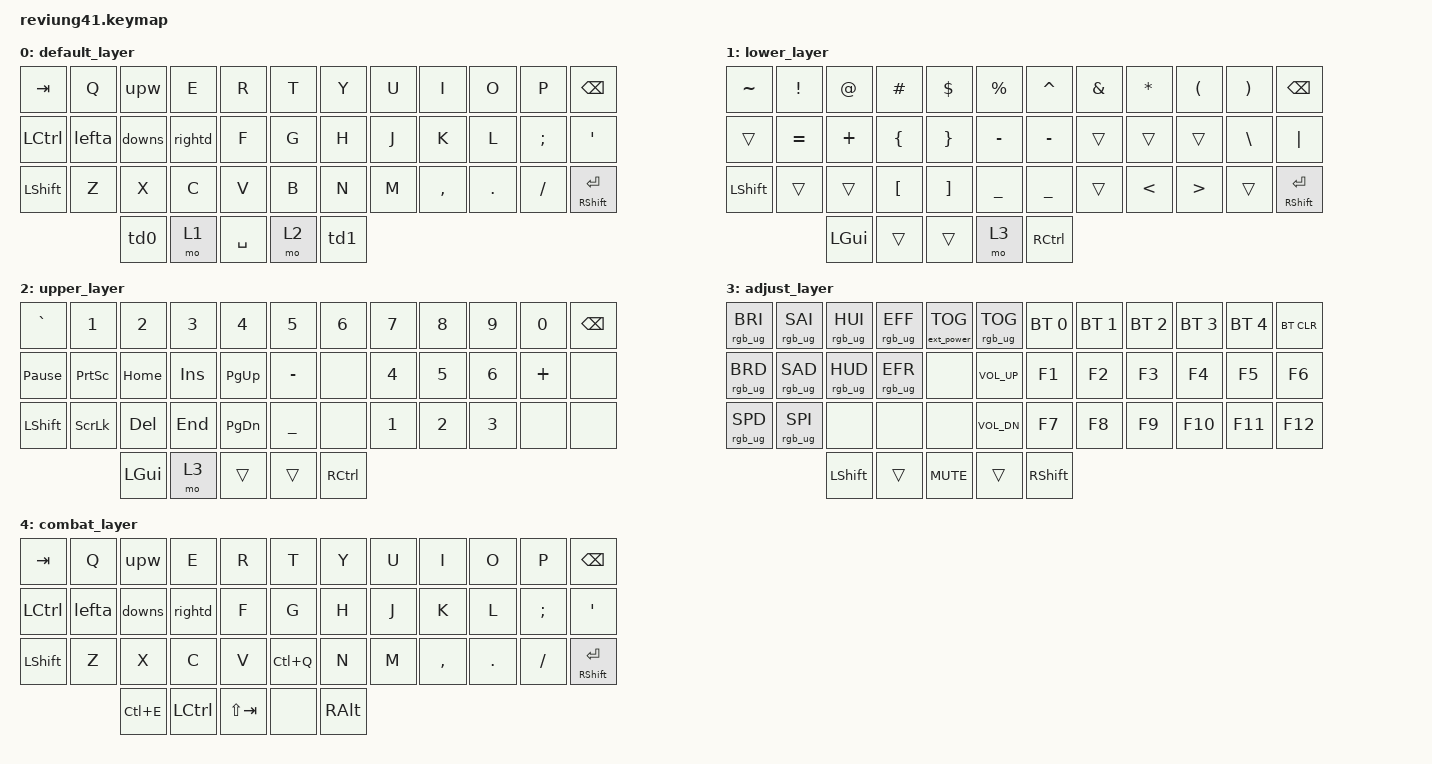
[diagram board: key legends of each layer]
/*
 * Copyright (c) 2020 The ZMK Contributors
 *
 * SPDX-License-Identifier: MIT
 */

// ----------------------------------------------------------------------------------
// |  ~    |  !  |  @  |  #  |  $  |  %  | xxxxx |  ^  |  &  |  *  |  (  |  )  |    BKSP   |
// |       |  =  |  +  |  -  |  (  |  {  | xxxxx |  }  |  )  |     |     |     |    "|"    |
// | SHIFT |     |     |  _  |  [  |  <  | xxxxx |  >  |  ]  |     |     |  \  | SHFT(RET) |
//                          | GUI  |     |       | ADJ | CTRL |


#include <behaviors.dtsi>
#include <dt-bindings/zmk/keys.h>
#include <dt-bindings/zmk/bt.h>
#include <dt-bindings/zmk/rgb.h>
#include <dt-bindings/zmk/ext_power.h>


/ {
    combos {
        compatible = "zmk,combos";
        combo_esc {
            timeout-ms = <40>;
            key-positions = <0 1>;
            bindings = <&kp ESC>;
        };
        combo_del {
            timeout-ms = <40>;
            key-positions = <10 11>;
            bindings = <&kp DEL>;
        };
        combo_default {
            timeout-ms = <50>;
            key-positions = <33 34 35>;
            bindings = <&to 0>;
        };
        combo_combat {
            timeout-ms = <50>;
            key-positions = <30 31 32>;
            bindings = <&to 4>;
        };
        combo_partial {
            timeout-ms = <30>;
            key-positions = <36 37>;
            bindings = <&kp LG(LS(S))>;
        };
        combo_code {
            timeout-ms = <30>;
            key-positions = <39 40>;
            bindings = <&kp LGUI>;
        };
    };
};

/ {
    behaviors {
        upw: up_w {
            compatible = "zmk,behavior-mod-morph";
            label = "W_UP";
            #binding-cells = <0>;
            bindings = <&kp W>, <&kp UP>;
            mods = <(MOD_RALT)>;
        };
        lefta: left_a {
            compatible = "zmk,behavior-mod-morph";
            label = "A_LEFT";
            #binding-cells = <0>;
            bindings = <&kp A>, <&kp LEFT>;
            mods = <(MOD_RALT)>;
        };
        downs: down_s {
            compatible = "zmk,behavior-mod-morph";
            label = "S_DOWN";
            #binding-cells = <0>;
            bindings = <&kp S>, <&kp DOWN>;
            mods = <(MOD_RALT)>;
        };
        rightd: right_d {
            compatible = "zmk,behavior-mod-morph";
            label = "D_RIGHT";
            #binding-cells = <0>;
            bindings = <&kp D>, <&kp RIGHT>;
            mods = <(MOD_RALT)>;
        };
        td0: tap_dance_0 {
            compatible = "zmk,behavior-tap-dance";
            label = "TAP_DANCE_0";
            #binding-cells = <0>;
            tapping-term-ms = <400>;
            bindings = <&kp LALT>, <&kp LG(LC(LEFT))>, <&kp LGUI>;
        };
        td1: tap_dance_1 {
            compatible = "zmk,behavior-tap-dance";
            label = "TAP_DANCE_1";
            #binding-cells = <0>;
            tapping-term-ms = <400>;
            bindings = <&kp RGUI>, <&kp LG(LC(RIGHT))>;
        };
    };
};


/ {
        keymap {
                compatible = "zmk,keymap";

                default_layer { 
// -------------------------------------------------------------------------------------
// |  TAB |  Q  |  W  |  E  |  R  |  T  | xxxxx |  Y  |  U   |  I  |  O  |  P  |   BKSP    |
// | CTRL |  A  |  S  |  D  |  F  |  G  | xxxxx |  H  |  J   |  K  |  L  |  ;  |     '     |
// | SHFT |  Z  |  X  |  C  |  V  |  B  | xxxxx |  N  |  M   |  ,  |  .  |  /  | SHFT(RET) |
//                           | TD0 | LWR | SPC | RSE  | TD1 |
                        bindings = <
   &kp TAB    &kp Q   &upw    &kp E    &kp R  &kp T      &kp Y  &kp U  &kp I      &kp O    &kp P     &kp BSPC
   &kp LCTRL  &lefta  &downs  &rightd  &kp F  &kp G      &kp H  &kp J  &kp K      &kp L    &kp SEMI  &kp SQT
   &kp LSHFT  &kp Z   &kp X   &kp C    &kp V  &kp B      &kp N  &kp M  &kp COMMA  &kp DOT  &kp FSLH  &mt RSHFT RET
                          &td0  &mo 1  &kp SPACE  &mo 2  &td1
                        >;
                };

                lower_layer {
// ----------------------------------------------------------------------------------
// |  ~    |  !  |  @  |  #  |  $  |  %  | xxxxx |  ^  |  &  |  *  |  (  |  )  |    BKSP   |
// |       |  =  |  +  |  {  |  }  |  -  | xxxxx |  -  |     |     |     |  \  |    "|"    |
// | SHIFT |     |     |  [  |  ]  |  _  | xxxxx |  _  |     |  <  |  >  |     | SHFT(RET) |
//                          | GUI  |     |     | ADJ | CTRL |
                        bindings = <
   &kp TILDE     &kp EXCL   &kp AT    &kp HASH    &kp DLLR  &kp PRCNT         &kp CARET  &kp AMPS  &kp STAR  &kp LPAR  &kp RPAR  &kp BSPC
   &trans         &kp EQUAL  &kp PLUS  &kp LBRC    &kp RBRC  &kp MINUS         &kp MINUS  &trans    &trans    &trans    &kp BSLH  &kp PIPE
   &kp LSHFT      &trans     &trans    &kp LBKT    &kp RBKT  &kp UNDER         &kp UNDER  &trans    &kp LT    &kp GT    &trans    &mt RSHFT RET
                                                   &kp LGUI  &trans  &trans  &mo 3  &kp RCTRL
                        >;
                };

                upper_layer {
// -----------------------------------------------------------------------------------------
// |  `    |  1   |  2   |  3  |  4     |  5   | xxxxx |  6  |  7  |  8  |  9  |  0  | BKSP   |
// | PAUSE |      | HOME | INS | PGUP   |  -   | xxxxx |  -  |  4  |  5  |  6  |  +  |        |
// | SHIFT | SLCK | DEL  | END | PGDOWN |  _   | xxxxx |  _  |  1  |  2  |  3  |     |        |
//                            | GUI |  ADJ  |     |     | CTRL |
                        bindings = <
   &kp GRAVE        &kp N1       &kp N2    &kp N3   &kp N4     &kp N5                &kp N6       &kp N7    &kp N8    &kp N9    &kp N0    &kp BSPC
   &kp PAUSE_BREAK  &kp PSCRN    &kp HOME  &kp INS  &kp PG_UP  &kp MINUS             &none        &kp N4    &kp N5    &kp N6    &kp PLUS  &none
   &kp LSHFT        &kp SLCK     &kp DEL   &kp END  &kp PG_DN  &kp UNDER             &none        &kp N1    &kp N2    &kp N3    &none     &none
                                      &kp LGUI      &mo 3       &trans        &trans      &kp RCTRL
                        >;
                };

                adjust_layer {
// -----------------------------------------------------------------------------------------
// | RGB BRI+ | RGB SAT+ | RGB HUE+ | RGB ANI+ | PWR TOG | RGB TOG  |  xxxxx  | BT1 | BT2 | BT3 | BT4 | BT5 | BT CLR |
// | RGB BRI- | RGB SAT- | RGB HUE- | RGB ANI- |         | VOL UP   |  xxxxx  | F1  | F2  | F3  | F4  | F5  | F6   |
// | RGB SPD- | RGB SPD+ |          |          |         | VOL DOWN |  xxxxx  | F7  | F8  | F9  | F10 | F11 | F12  |
//                                                     | SHFT |     | VOL MUTE |    | SHFT |
                        bindings = <
   &rgb_ug RGB_BRI &rgb_ug RGB_SAI &rgb_ug RGB_HUI &rgb_ug RGB_EFF &ext_power EP_TOG &rgb_ug RGB_TOG           &bt BT_SEL 0 &bt BT_SEL 1 &bt BT_SEL 2 &bt BT_SEL 3 &bt BT_SEL 4 &bt BT_CLR
   &rgb_ug RGB_BRD &rgb_ug RGB_SAD &rgb_ug RGB_HUD &rgb_ug RGB_EFR &none             &kp C_VOL_UP              &kp F1    &kp F2    &kp F3    &kp F4    &kp F5    &kp F6
   &rgb_ug RGB_SPD &rgb_ug RGB_SPI &none           &none           &none             &kp C_VOL_DN              &kp F7    &kp F8    &kp F9    &kp F10   &kp F11   &kp F12
                            &kp LSHFT      &trans       &kp C_MUTE      &trans    &kp RSHFT
                        >;
                };
                combat_layer {
// -------------------------------------------------------------------------------------
// |  TAB |  Q  |  W  |  E  |  R  |  T  | xxxxx |  Y  |  U   |  I  |  O  |  P  |   BKSP    |
// | CTRL |  A  |  S  |  D  |  F  |  G  | xxxxx |  H  |  J   |  K  |  L  |  ;  |    '      |
// | SHFT |  Z  |  X  |  C  |  V  |  B  | xxxxx |  N  |  M   |  ,  |  .  |  /  | SHFT(RET) |
//                     | CTRL+E | CTRL | SHFT+TAB |     | ALT |
                        bindings = <
   &kp TAB    &kp Q   &upw    &kp E    &kp R  &kp T      &kp Y  &kp U  &kp I      &kp O    &kp P     &kp BSPC
   &kp LCTRL  &lefta  &downs  &rightd  &kp F  &kp G      &kp H  &kp J  &kp K      &kp L    &kp SEMI  &kp SQT
   &kp LSHFT  &kp Z   &kp X   &kp C    &kp V  &kp LC(Q)      &kp N  &kp M  &kp COMMA  &kp DOT  &kp FSLH  &mt RSHFT RET
                          &kp LC(E)  &kp LCTRL   &kp LS(TAB)  &none  &kp RALT
                        >;
                };
        };
};
